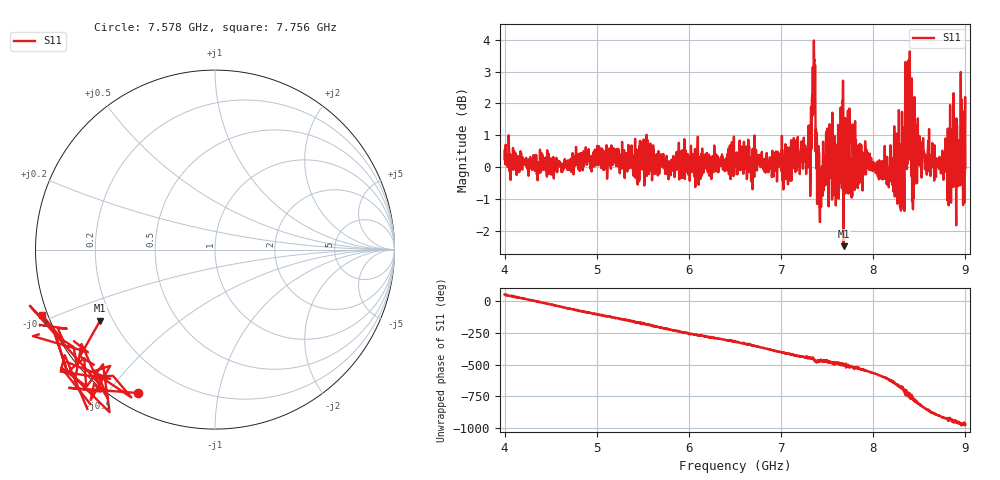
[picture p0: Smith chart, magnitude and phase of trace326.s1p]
! Created with skrf 1.8.0 (http://scikit-rf.org).
# Hz S RI R 50.0
!freq ReS11 ImS11
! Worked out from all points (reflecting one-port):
!   1601 points, 4 GHz to 9 GHz, reference 50 ohm
!   lowest |S11| = -2.5 dB at 7.678 GHz (marker M1), VSWR 7.09, Z = 7.61 - j13.9 ohm
!   phase of S11 starts at 53 deg and turns -1023 deg over the sweep
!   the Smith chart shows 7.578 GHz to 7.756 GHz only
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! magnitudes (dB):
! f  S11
! 4 GHz  0.3
! 4.625 GHz  -0.1
! 5.25 GHz  -0.2
! 5.875 GHz  0.0
! 6.5 GHz  0.3
! 7.125 GHz  0.2
! 7.297 GHz  1.3
! 7.35 GHz  2.4
! 7.369 GHz  3.2
! 7.397 GHz  -0.5
! 7.416 GHz  -1.2
! 7.512 GHz  0.8
! 7.591 GHz  0.7
! 7.65 GHz  1.1
! 7.678 GHz  -2.5
! 7.703 GHz  -0.1
! 7.75 GHz  -0.2
! 8.194 GHz  0.1
! 8.262 GHz  -1.1
! 8.312 GHz  1.7
! 8.334 GHz  -0.3
! 8.375 GHz  0.1
! 8.412 GHz  0.6
! 8.447 GHz  2.2
! 8.466 GHz  -0.1
! 8.747 GHz  -0.1
! 8.972 GHz  0.3
! 9 GHz  0.0
